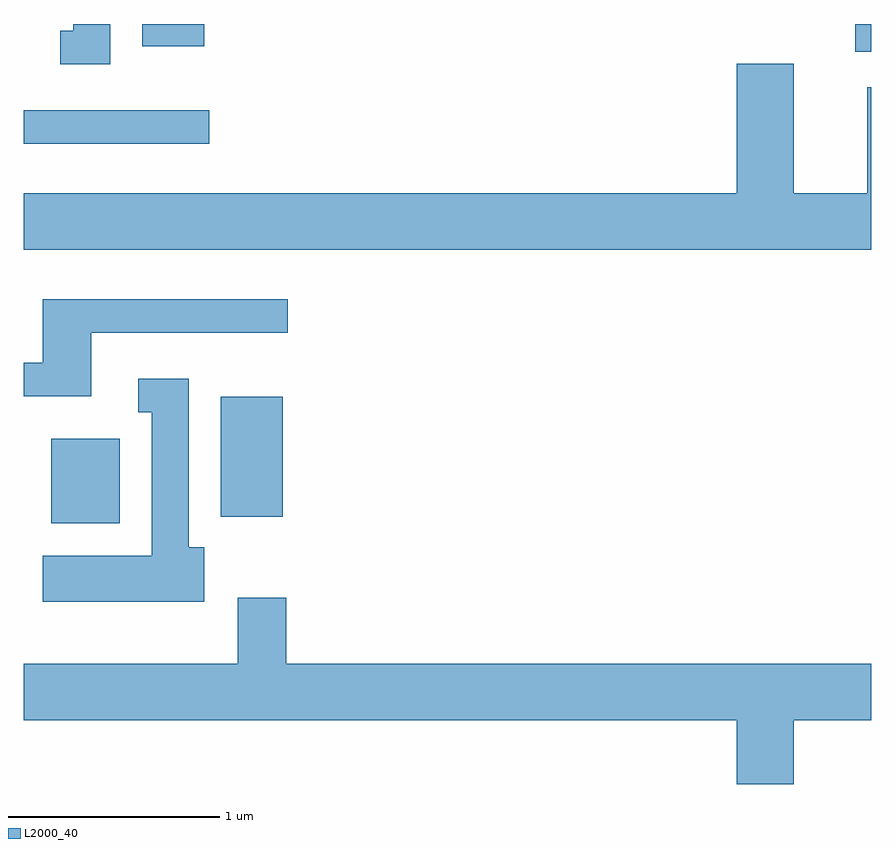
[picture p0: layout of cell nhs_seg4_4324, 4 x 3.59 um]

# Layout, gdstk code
import gdstk
lib = gdstk.Library(unit=1e-6, precision=1e-09)
def R(c, l, rs):  # rectangles x0, y0, x1, y1
    for r in rs: c.add(gdstk.rectangle(r[:2], r[2:], *l))
def P(c, l, *ps):  # polygons
    for p in ps: c.add(gdstk.Polygon(p, *l))
L2000_40 = (2000, 40)

nhs_seg4_4324 = lib.new_cell('nhs_seg4_4324')
R(nhs_seg4_4324, L2000_40, [(311.741,1335.626,312.064,1336.024), (312.541,1335.656,312.834,1336.224), (311.611,1337.416,312.488,1337.574), (315.536,1337.851,315.611,1337.982), (312.171,1337.876,312.464,1337.982)])
P(nhs_seg4_4324, L2000_40, [(312.019,1337.982),(311.846,1337.982),(311.846,1337.949),(311.783,1337.949),(311.783,1337.791),(312.019,1337.791)],
  [(315.611,1337.684),(315.591,1337.684),(315.591,1337.184),(315.244,1337.184),(315.244,1337.794),(314.976,1337.794),(314.976,1337.184),(311.611,1337.184),(311.611,1336.916),(315.611,1336.916)],
  [(311.929,1336.526),(312.858,1336.526),(312.858,1336.684),(311.701,1336.684),(311.701,1336.384),(311.611,1336.384),(311.611,1336.226),(311.929,1336.226)],
  [(312.464,1335.514),(312.389,1335.514),(312.389,1336.309),(312.153,1336.309),(312.153,1336.151),(312.216,1336.151),(312.216,1335.474),(311.701,1335.474),(311.701,1335.256),(312.464,1335.256)],
  [(312.849,1335.274),(312.621,1335.274),(312.621,1334.964),(311.611,1334.964),(311.611,1334.696),(314.976,1334.696),(314.976,1334.396),(315.244,1334.396),(315.244,1334.696),(315.611,1334.696),(315.611,1334.964),(312.849,1334.964)])

lib.write_gds('nhs_seg4_4324.gds')
